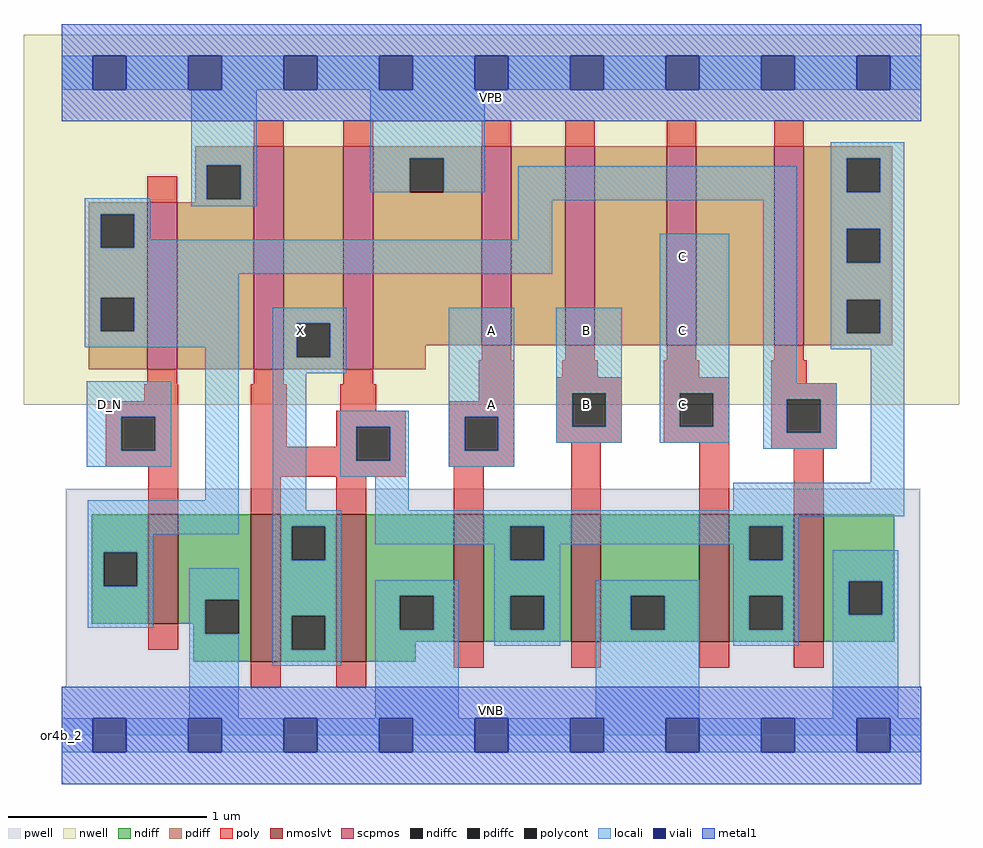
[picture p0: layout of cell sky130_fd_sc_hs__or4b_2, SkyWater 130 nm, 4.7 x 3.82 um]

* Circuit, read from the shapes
.subckt sky130_fd_sc_hs__or4b_2 A B C D_N VGND VNB VPB VPWR X
XM1 VGND D_N n1 VNB sky130_fd_pr__nfet_01v8_lvt w=0.55 l=0.15
XM2 X n2 VGND VNB sky130_fd_pr__nfet_01v8_lvt w=0.74 l=0.15 m=2
XM3 n2 A VGND VNB sky130_fd_pr__nfet_01v8_lvt w=0.64 l=0.15
XM4 VGND B n2 VNB sky130_fd_pr__nfet_01v8_lvt w=0.64 l=0.15
XM5 n2 C VGND VNB sky130_fd_pr__nfet_01v8_lvt w=0.64 l=0.15
XM6 VGND n1 n2 VNB sky130_fd_pr__nfet_01v8_lvt w=0.64 l=0.15
XM7 VPWR D_N n1 VPB sky130_fd_pr__pfet_01v8 w=0.84 l=0.15
XM8 X n2 VPWR VPB sky130_fd_pr__pfet_01v8 w=1.12 l=0.15 m=2
XM9 n3 A VPWR VPB sky130_fd_pr__pfet_01v8 w=1 l=0.15
XM10 n4 B n3 VPB sky130_fd_pr__pfet_01v8 w=1 l=0.15
XM11 n5 C n4 VPB sky130_fd_pr__pfet_01v8 w=1 l=0.15
XM12 n2 n1 n5 VPB sky130_fd_pr__pfet_01v8 w=1 l=0.15
.ends

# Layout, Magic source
magic
tech sky130A
magscale 1 2
<< nwell >>
rect -38 332 902 704
<< pwell >>
rect 4 49 863 248
rect 0 0 864 49
<< scpmos >>
rect 86 368 116 536
rect 193 368 223 592
rect 283 368 313 592
rect 422 392 452 592
rect 506 392 536 592
rect 608 392 638 592
rect 716 392 746 592
<< nmoslvt >>
rect 87 112 117 222
rect 190 74 220 222
rect 276 74 306 222
rect 394 94 424 222
rect 512 94 542 222
rect 641 94 671 222
rect 736 94 766 222
<< ndiff >>
rect 30 184 87 222
rect 30 150 42 184
rect 76 150 87 184
rect 30 112 87 150
rect 117 136 190 222
rect 117 112 144 136
rect 132 102 144 112
rect 178 102 190 136
rect 132 74 190 102
rect 220 210 276 222
rect 220 176 231 210
rect 265 176 276 210
rect 220 120 276 176
rect 220 86 231 120
rect 265 86 276 120
rect 220 74 276 86
rect 306 140 394 222
rect 306 106 340 140
rect 374 106 394 140
rect 306 94 394 106
rect 424 210 512 222
rect 424 176 451 210
rect 485 176 512 210
rect 424 140 512 176
rect 424 106 451 140
rect 485 106 512 140
rect 424 94 512 106
rect 542 140 641 222
rect 542 106 572 140
rect 606 106 641 140
rect 542 94 641 106
rect 671 210 736 222
rect 671 176 691 210
rect 725 176 736 210
rect 671 140 736 176
rect 671 106 691 140
rect 725 106 736 140
rect 671 94 736 106
rect 766 155 837 222
rect 766 121 791 155
rect 825 121 837 155
rect 766 94 837 121
rect 306 74 356 94
<< pdiff >>
rect 134 573 193 592
rect 134 539 146 573
rect 180 539 193 573
rect 134 536 193 539
rect 27 524 86 536
rect 27 490 39 524
rect 73 490 86 524
rect 27 440 86 490
rect 27 406 39 440
rect 73 406 86 440
rect 27 368 86 406
rect 116 368 193 536
rect 223 414 283 592
rect 223 380 236 414
rect 270 380 283 414
rect 223 368 283 380
rect 313 580 422 592
rect 313 546 350 580
rect 384 546 422 580
rect 313 392 422 546
rect 452 392 506 592
rect 536 392 608 592
rect 638 392 716 592
rect 746 580 835 592
rect 746 546 789 580
rect 823 546 835 580
rect 746 509 835 546
rect 746 475 789 509
rect 823 475 835 509
rect 746 438 835 475
rect 746 404 789 438
rect 823 404 835 438
rect 746 392 835 404
rect 313 368 366 392
<< ndiffc >>
rect 42 150 76 184
rect 144 102 178 136
rect 231 176 265 210
rect 231 86 265 120
rect 340 106 374 140
rect 451 176 485 210
rect 451 106 485 140
rect 572 106 606 140
rect 691 176 725 210
rect 691 106 725 140
rect 791 121 825 155
<< pdiffc >>
rect 146 539 180 573
rect 39 490 73 524
rect 39 406 73 440
rect 236 380 270 414
rect 350 546 384 580
rect 789 546 823 580
rect 789 475 823 509
rect 789 404 823 438
<< poly >>
rect 193 592 223 618
rect 283 592 313 618
rect 422 592 452 618
rect 506 592 536 618
rect 608 592 638 618
rect 716 592 746 618
rect 86 536 116 562
rect 422 377 452 392
rect 506 377 536 392
rect 608 377 638 392
rect 716 377 746 392
rect 86 353 116 368
rect 193 353 223 368
rect 283 353 313 368
rect 83 336 117 353
rect 44 320 117 336
rect 44 286 60 320
rect 94 286 117 320
rect 44 270 117 286
rect 87 222 117 270
rect 190 290 226 353
rect 280 326 316 353
rect 419 336 455 377
rect 503 360 539 377
rect 605 360 641 377
rect 276 310 346 326
rect 276 290 296 310
rect 190 276 296 290
rect 330 276 346 310
rect 190 260 346 276
rect 389 320 455 336
rect 389 286 405 320
rect 439 286 455 320
rect 497 344 563 360
rect 497 310 513 344
rect 547 310 563 344
rect 497 294 563 310
rect 605 344 671 360
rect 605 310 621 344
rect 655 310 671 344
rect 605 294 671 310
rect 389 270 455 286
rect 190 222 220 260
rect 276 222 306 260
rect 394 222 424 270
rect 512 222 542 294
rect 641 222 671 294
rect 713 354 749 377
rect 713 338 779 354
rect 713 304 729 338
rect 763 304 779 338
rect 713 288 779 304
rect 736 222 766 288
rect 87 86 117 112
rect 190 48 220 74
rect 276 48 306 74
rect 394 68 424 94
rect 512 68 542 94
rect 641 68 671 94
rect 736 68 766 94
<< polycont >>
rect 60 286 94 320
rect 296 276 330 310
rect 405 286 439 320
rect 513 310 547 344
rect 621 310 655 344
rect 729 304 763 338
<< locali >>
rect 0 649 31 683
rect 65 649 127 683
rect 161 649 223 683
rect 257 649 319 683
rect 353 649 415 683
rect 449 649 511 683
rect 545 649 607 683
rect 641 649 703 683
rect 737 649 799 683
rect 833 649 864 683
rect 130 573 196 649
rect 23 524 89 540
rect 130 539 146 573
rect 180 539 196 573
rect 310 580 425 649
rect 310 546 350 580
rect 384 546 425 580
rect 773 580 847 596
rect 130 532 196 539
rect 459 538 739 572
rect 23 490 39 524
rect 73 498 89 524
rect 459 498 493 538
rect 73 490 493 498
rect 23 464 493 490
rect 23 440 178 464
rect 23 406 39 440
rect 73 406 178 440
rect 23 390 178 406
rect 25 320 110 356
rect 25 286 60 320
rect 94 286 110 320
rect 25 270 110 286
rect 144 236 178 390
rect 26 202 178 236
rect 212 414 286 430
rect 212 380 236 414
rect 270 380 286 414
rect 212 364 286 380
rect 212 226 246 364
rect 280 310 349 326
rect 280 276 296 310
rect 330 276 349 310
rect 280 260 349 276
rect 389 320 455 430
rect 389 286 405 320
rect 439 286 455 320
rect 497 344 563 430
rect 497 310 513 344
rect 547 310 563 344
rect 497 294 563 310
rect 601 344 671 504
rect 601 310 621 344
rect 655 310 671 344
rect 601 294 671 310
rect 705 354 739 538
rect 773 546 789 580
rect 823 546 847 580
rect 773 509 847 546
rect 773 475 789 509
rect 823 475 847 509
rect 773 438 847 475
rect 773 404 789 438
rect 823 404 847 438
rect 773 388 847 404
rect 705 338 779 354
rect 705 304 729 338
rect 763 304 779 338
rect 705 288 779 304
rect 389 270 455 286
rect 315 226 349 260
rect 813 254 847 388
rect 675 226 847 254
rect 212 210 281 226
rect 26 184 92 202
rect 26 150 42 184
rect 76 150 92 184
rect 212 176 231 210
rect 265 176 281 210
rect 315 220 847 226
rect 315 210 741 220
rect 315 192 451 210
rect 26 108 92 150
rect 128 136 178 168
rect 128 102 144 136
rect 128 17 178 102
rect 212 120 281 176
rect 435 176 451 192
rect 485 192 691 210
rect 485 176 501 192
rect 212 86 231 120
rect 265 86 281 120
rect 212 70 281 86
rect 315 140 399 156
rect 315 106 340 140
rect 374 106 399 140
rect 315 17 399 106
rect 435 140 501 176
rect 675 176 691 192
rect 725 176 741 210
rect 435 106 451 140
rect 485 106 501 140
rect 435 90 501 106
rect 537 140 641 156
rect 537 106 572 140
rect 606 106 641 140
rect 537 17 641 106
rect 675 140 741 176
rect 675 106 691 140
rect 725 106 741 140
rect 675 90 741 106
rect 775 155 841 186
rect 775 121 791 155
rect 825 121 841 155
rect 775 17 841 121
rect 0 -17 31 17
rect 65 -17 127 17
rect 161 -17 223 17
rect 257 -17 319 17
rect 353 -17 415 17
rect 449 -17 511 17
rect 545 -17 607 17
rect 641 -17 703 17
rect 737 -17 799 17
rect 833 -17 864 17
<< viali >>
rect 31 649 65 683
rect 127 649 161 683
rect 223 649 257 683
rect 319 649 353 683
rect 415 649 449 683
rect 511 649 545 683
rect 607 649 641 683
rect 703 649 737 683
rect 799 649 833 683
rect 31 -17 65 17
rect 127 -17 161 17
rect 223 -17 257 17
rect 319 -17 353 17
rect 415 -17 449 17
rect 511 -17 545 17
rect 607 -17 641 17
rect 703 -17 737 17
rect 799 -17 833 17
<< metal1 >>
rect 0 683 864 715
rect 0 649 31 683
rect 65 649 127 683
rect 161 649 223 683
rect 257 649 319 683
rect 353 649 415 683
rect 449 649 511 683
rect 545 649 607 683
rect 641 649 703 683
rect 737 649 799 683
rect 833 649 864 683
rect 0 617 864 649
rect 0 17 864 49
rect 0 -17 31 17
rect 65 -17 127 17
rect 161 -17 223 17
rect 257 -17 319 17
rect 353 -17 415 17
rect 449 -17 511 17
rect 545 -17 607 17
rect 641 -17 703 17
rect 737 -17 799 17
rect 833 -17 864 17
rect 0 -49 864 -17
<< labels >>
rlabel comment s 0 0 0 0 4 or4b_2
flabel pwell s 0 0 864 49 0 FreeSans 200 0 0 0 VNB
port 6 nsew ground bidirectional
flabel nwell s 0 617 864 666 0 FreeSans 200 0 0 0 VPB
port 7 nsew power bidirectional
flabel metal1 s 0 617 864 666 0 FreeSans 340 0 0 0 VPWR
port 8 nsew power bidirectional
flabel metal1 s 0 0 864 49 0 FreeSans 340 0 0 0 VGND
port 5 nsew ground bidirectional
flabel locali s 415 316 449 350 0 FreeSans 340 0 0 0 A
port 1 nsew signal input
flabel locali s 415 390 449 424 0 FreeSans 340 0 0 0 A
port 1 nsew signal input
flabel locali s 511 316 545 350 0 FreeSans 340 0 0 0 B
port 2 nsew signal input
flabel locali s 511 390 545 424 0 FreeSans 340 0 0 0 B
port 2 nsew signal input
flabel locali s 607 316 641 350 0 FreeSans 340 0 0 0 C
port 3 nsew signal input
flabel locali s 607 390 641 424 0 FreeSans 340 0 0 0 C
port 3 nsew signal input
flabel locali s 607 464 641 498 0 FreeSans 340 0 0 0 C
port 3 nsew signal input
flabel locali s 31 316 65 350 0 FreeSans 340 0 0 0 D_N
port 4 nsew signal input
flabel locali s 223 390 257 424 0 FreeSans 340 0 0 0 X
port 9 nsew signal output
<< properties >>
string LEFsite unit
string LEFclass CORE
string FIXED_BBOX 0 0 864 666
string GDS_FILE $PDKPATH/libs.ref/sky130_fd_sc_hs/gds/sky130_fd_sc_hs.gds
string LEFsymmetry X Y
string GDS_END 1848116
string GDS_START 1840680
<< end >>
